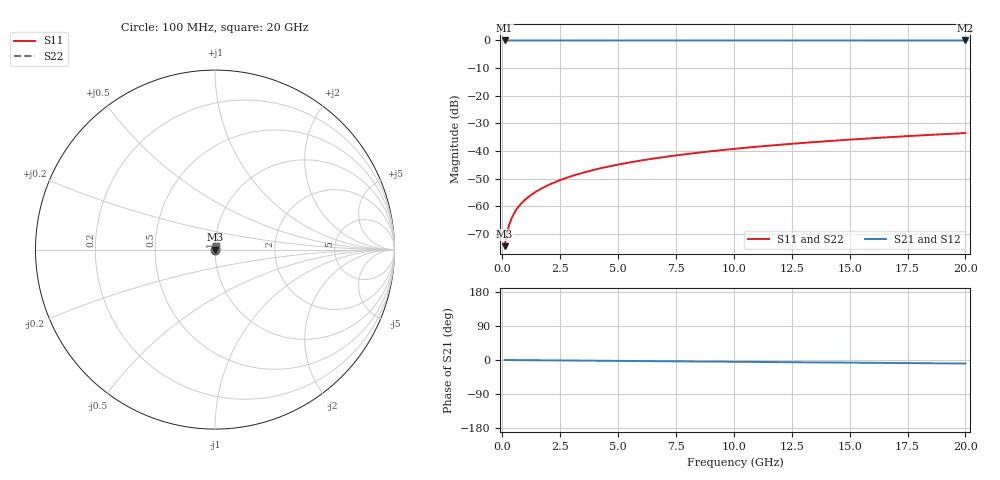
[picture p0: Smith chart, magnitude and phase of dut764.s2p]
! Touchstone file exported from HFSS 2026.1.0
!  File:  C:/ffzhzh/LocalFiles/Ansys_Project_Files/temp_train_TSV_764_1783183286_51560.aedt
!  Generated:  12:42:55 AM Jul  5, 2026
!  Design:  TSV
!  Project:  temp_train_TSV_764_1783183286_51560
! Variables:
!  h_bsmrdl = 2um
!  h_ox = 20um
!  h_rdl = 5um
!  h_sub = 91.61um
!  h_tmrdl = 5um
!  h_tsv = 91.61um
!  h_via = 3um
!  l_bsmrdl = 300um
!  l_sub = 422.56um
!  l_tmrdl = 200um
!  m_sub = 200um
!  pitch = 52.73um
!  r_tsv = 11.28um
!  s_tmrdl = 10um
!  w_bsmrdl = 18um
!  w_sub = 500um
!  w_tmrdl = 12um
!  x_tsv_center1 = 206um
!  x_tsv_center2 = 524um
!  x_tsv_center3 = 736um
!  x_tsv_center4 = 1054um
!  x_tsv_center5 = 1266um
!  x_tsv_center6 = 1584um
# GHz S MA R 50.000000
! Terminal data exported
! Port[1] = TSV1_1_T1
! Port[2] = TSV1_1_T2
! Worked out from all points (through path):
!   200 points, 100 MHz to 20 GHz, reference 50 ohm
!   highest |S21| = 0.00 dB at 100 MHz (marker M1); lowest = 0.0 dB at 20 GHz (marker M2)
!   group delay of S21, straight-line fit = 1.29 ps
!   lowest |S11| = -74.4 dB at 100 MHz (marker M3), VSWR 1.00, Z = 50 + j0.0152 ohm
!   |S11| at or under -10 dB: start of sweep to end of sweep
!   |S22| runs from -74.4 to -33.5 dB; largest |S21 - S12| = 3.4e-15
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0.1  0.0001908 52.6  0.9999 -0.0  0.9999 -0.0  0.0001908 52.6
! Gamma 0 0 0 0
! Port Impedance 50 0 50 0
0.2  0.0003267 66.7  0.9999 -0.1  0.9999 -0.1  0.0003267 66.7
0.3  0.0004677 71.4  0.9999 -0.1  0.9999 -0.1  0.0004677 71.4
0.4  0.0006054 73.4  0.9998 -0.2  0.9998 -0.2  0.0006054 73.4
0.5  0.0007379 74.4  0.9998 -0.2  0.9998 -0.2  0.0007379 74.4
0.6  0.0008651 74.9  0.9998 -0.3  0.9998 -0.3  0.0008651 74.9
0.7  0.0009877 75.3  0.9998 -0.3  0.9998 -0.3  0.0009878 75.3
0.9  0.001223 76.0  0.9997 -0.4  0.9997 -0.4  0.001223 76.0
1.1  0.001449 76.7  0.9997 -0.5  0.9997 -0.5  0.001449 76.7
1.3  0.001671 77.3  0.9996 -0.6  0.9996 -0.6  0.001671 77.3
1.6  0.002001 78.2  0.9996 -0.8  0.9996 -0.8  0.002001 78.2
1.9  0.00233 78.9  0.9996 -0.9  0.9996 -0.9  0.00233 78.9
2.6  0.003096 80.0  0.9995 -1.2  0.9995 -1.2  0.003096 80.0
3.5  0.004078 80.8  0.9995 -1.6  0.9995 -1.6  0.004078 80.8
4.2  0.004836 81.1  0.9994 -2.0  0.9994 -2.0  0.004836 81.1
5  0.005695 81.2  0.9993 -2.3  0.9993 -2.3  0.005695 81.2
6.8  0.007605 81.1  0.9992 -3.2  0.9992 -3.2  0.007605 81.1
8.3  0.009179 80.9  0.9991 -3.9  0.9991 -3.9  0.009179 80.9
10.1  0.01105 80.5  0.999 -4.7  0.999 -4.7  0.01105 80.5
13.4  0.01446 79.6  0.9988 -6.2  0.9988 -6.2  0.01446 79.6
16.7  0.01783 78.4  0.9987 -7.8  0.9987 -7.8  0.01783 78.4
20  0.02115 77.2  0.9985 -9.3  0.9985 -9.3  0.02115 77.2
